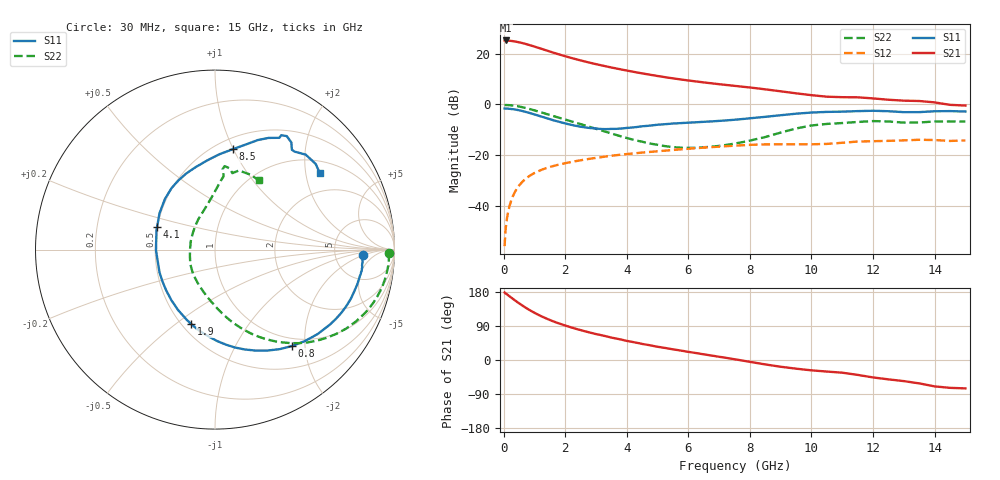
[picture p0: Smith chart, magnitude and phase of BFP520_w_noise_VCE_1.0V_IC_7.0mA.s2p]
! Infineon Technologies  Discrete & RF Semiconductors
! BFP520
! VCE =  1.0 V,  IC =  7.0 mA
! Common Emitter S-Parameters:  Oct 2015
# GHz  S  MA  R  50
!  f  S11  S21  S12  S22
! GHz  MAG  ANG  MAG  ANG  MAG  ANG  MAG  ANG
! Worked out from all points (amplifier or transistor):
!   109 points, 30 MHz to 15 GHz, reference 50 ohm
!   highest |S21| = 25.2 dB at 70 MHz (marker M1)
!   |S21| within 3 dB of that: start of sweep to 1.151 GHz
!   unconditionally stable (mu >= 1): 3.666 GHz to end of sweep
!   at 450 MHz: K = 0.17, MSG = 28.7 dB, |S12| = -32.8 dB
!   at 4 GHz: K = 1.04, MAG = 15.2 dB, |S12| = -19.6 dB
!   at 15 GHz: K = 1.35, MAG = 3.3 dB, |S12| = -14.2 dB
!   lowest NFmin = 1.34 dB at 900 MHz
!   S11 on the Smith chart (normalised r, x): 30 MHz: 10, -2; 800 MHz: 0.86, -1.75; 1.9 GHz: 0.56, -0.57; 4.1 GHz: 0.50, +0.14; 8.5 GHz: 0.60, +1.00; 15 GHz: 1.33, +2.39
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0.03  0.8274 -1.9  18.2 178.0  0.0016 89.2  0.9674 -1.1
0.07  0.8262 -4.8  18.2 175.2  0.0038 86.9  0.97 -3.0
0.25  0.8097 -16.9  17.81 164.4  0.013 82.0  0.957 -11.6
0.45  0.7758 -30.0  16.98 152.4  0.0228 75.2  0.9201 -20.7
0.6  0.7408 -39.4  16.21 144.1  0.0294 70.7  0.8815 -27.0
0.8  0.6875 -51.4  14.99 133.7  0.0374 65.2  0.8228 -34.8
1  0.6331 -62.7  13.79 124.6  0.0443 60.7  0.7613 -41.8
1.3  0.5567 -78.5  12.06 112.6  0.0532 55.1  0.6725 -50.8
1.6  0.4888 -93.4  10.53 102.3  0.0606 50.6  0.5916 -58.6
1.9  0.4361 -107.5  9.271 93.7  0.0671 47.0  0.5226 -65.4
2.2  0.3944 -121.5  8.218 85.8  0.0732 43.9  0.4619 -71.5
2.6  0.355 -139.8  7.094 76.6  0.0808 40.3  0.3912 -79.4
3  0.3342 -157.8  6.205 68.4  0.0882 36.8  0.3296 -87.6
3.5  0.3288 -179.4  5.332 59.0  0.097 32.5  0.2667 -99.5
4.1  0.3467 158.5  4.524 49.0  0.1063 27.5  0.2093 -117.4
5.1  0.4006 132.6  3.549 33.7  0.1204 19.8  0.1554 -152.7
6.1  0.4387 116.5  2.907 20.2  0.1346 12.3  0.1388 173.3
7.6  0.5039 93.6  2.284 0.7  0.1545 -0.2  0.1728 129.1
8.5  0.5683 79.9  1.978 -11.7  0.1626 -8.8  0.2271 105.9
10.5  0.7106 61.2  1.417 -30.5  0.1661 -21.0  0.4118 83.3
13  0.702 52.4  1.183 -55.7  0.1951 -40.6  0.4366 77.2
15  0.7236 36.4  0.948 -74.9  0.1945 -56.1  0.4573 57.4
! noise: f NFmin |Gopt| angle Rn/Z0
0.45  1.35  0.39  2  0.3
0.9  1.34  0.38  9  0.32
1.9  1.57  0.33  19  0.27
2.4  1.57  0.29  30  0.27
3.5  1.5  0.27  54  0.26
